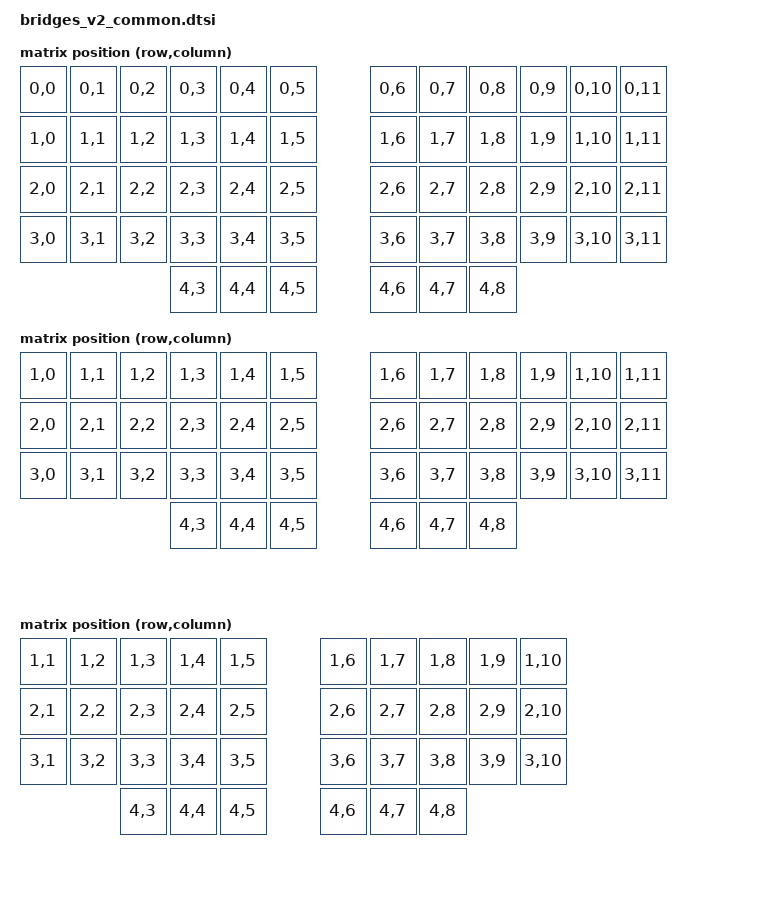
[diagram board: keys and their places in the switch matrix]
/*
 * Copyright (c) 2026 Vincent Franco
 * SPDX-License-Identifier: MIT
 *
 * Shared by every Bridges V2 build target: both halves and the dongle.
 * Nothing here assumes which device is the split central.
 */

#include <dt-bindings/zmk/matrix_transform.h>

#include "layout_54.dtsi"
#include "layout_42.dtsi"
#include "layout_36.dtsi"

&measlesbagel_bridges_54_layout {
  transform = <&default_transform>;
};

&measlesbagel_bridges_42_layout {
  transform = <&forty_two_transform>;
};

&measlesbagel_bridges_36_layout {
  transform = <&thirty_six_transform>;
};

/ {
    chosen {
      zmk,physical-layout = &measlesbagel_bridges_54_layout;
    };

    default_transform: keymap_transform0 {
      compatible = "zmk,matrix-transform";
      columns = <12>;
      rows = <5>;
      map = <
        RC(0,0) RC(0,1) RC(0,2) RC(0,3) RC(0,4) RC(0,5)       RC(0,6) RC(0,7) RC(0,8) RC(0,9) RC(0,10) RC(0,11)
        RC(1,0) RC(1,1) RC(1,2) RC(1,3) RC(1,4) RC(1,5)       RC(1,6) RC(1,7) RC(1,8) RC(1,9) RC(1,10) RC(1,11)
        RC(2,0) RC(2,1) RC(2,2) RC(2,3) RC(2,4) RC(2,5)       RC(2,6) RC(2,7) RC(2,8) RC(2,9) RC(2,10) RC(2,11)
        RC(3,0) RC(3,1) RC(3,2) RC(3,3) RC(3,4) RC(3,5)       RC(3,6) RC(3,7) RC(3,8) RC(3,9) RC(3,10) RC(3,11)
                                RC(4,3) RC(4,4) RC(4,5)       RC(4,6) RC(4,7) RC(4,8)
      >;
    };

    forty_two_transform: keymap_transform1 {
      compatible = "zmk,matrix-transform";
      columns = <12>;
      rows = <5>;
      map = <
        RC(1,0) RC(1,1) RC(1,2) RC(1,3) RC(1,4) RC(1,5)       RC(1,6) RC(1,7) RC(1,8) RC(1,9) RC(1,10) RC(1,11)
        RC(2,0) RC(2,1) RC(2,2) RC(2,3) RC(2,4) RC(2,5)       RC(2,6) RC(2,7) RC(2,8) RC(2,9) RC(2,10) RC(2,11)
        RC(3,0) RC(3,1) RC(3,2) RC(3,3) RC(3,4) RC(3,5)       RC(3,6) RC(3,7) RC(3,8) RC(3,9) RC(3,10) RC(3,11)
                                RC(4,3) RC(4,4) RC(4,5)       RC(4,6) RC(4,7) RC(4,8)
      >;
    };

    thirty_six_transform: keymap_transform2 {
      compatible = "zmk,matrix-transform";
      columns = <12>;
      rows = <5>;
      map = <
        RC(1,1) RC(1,2) RC(1,3) RC(1,4) RC(1,5)           RC(1,6) RC(1,7) RC(1,8) RC(1,9) RC(1,10)
        RC(2,1) RC(2,2) RC(2,3) RC(2,4) RC(2,5)           RC(2,6) RC(2,7) RC(2,8) RC(2,9) RC(2,10)
        RC(3,1) RC(3,2) RC(3,3) RC(3,4) RC(3,5)           RC(3,6) RC(3,7) RC(3,8) RC(3,9) RC(3,10)
                        RC(4,3) RC(4,4) RC(4,5)           RC(4,6) RC(4,7) RC(4,8)
      >;
    };

    /*
     * One split input channel per side. The split register is the
     * channel's identity on the central, whatever device the central is:
     * left is always 0 and right is always 1.
     *
     * Each half enables its own channel and points it at its sensor, so
     * that half's firmware is the same whichever device is central. The
     * central enables the channel of every half it receives from. Both stay
     * disabled here: a peripheral must not enable a channel that has no
     * local sensor.
     */
    split_inputs {
      #address-cells = <1>;
      #size-cells = <0>;

      trackball_left_split: trackball_left_split@0 {
        compatible = "zmk,input-split";
        reg = <0>;
        status = "disabled";
      };

      trackball_right_split: trackball_right_split@1 {
        compatible = "zmk,input-split";
        reg = <1>;
        status = "disabled";
      };
    };

    /*
     * Where each ball's motion enters the central. They default to the
     * split channels (the ball is on another device). A half that is
     * central points its own ball's listener at its local sensor instead.
     * Only the central enables them. Configs attach input processors here.
     */
    trackball_left_listener: trackball_left_listener {
      compatible = "zmk,input-listener";
      status = "disabled";
      device = <&trackball_left_split>;
    };

    trackball_right_listener: trackball_right_listener {
      compatible = "zmk,input-listener";
      status = "disabled";
      device = <&trackball_right_split>;
    };
};
